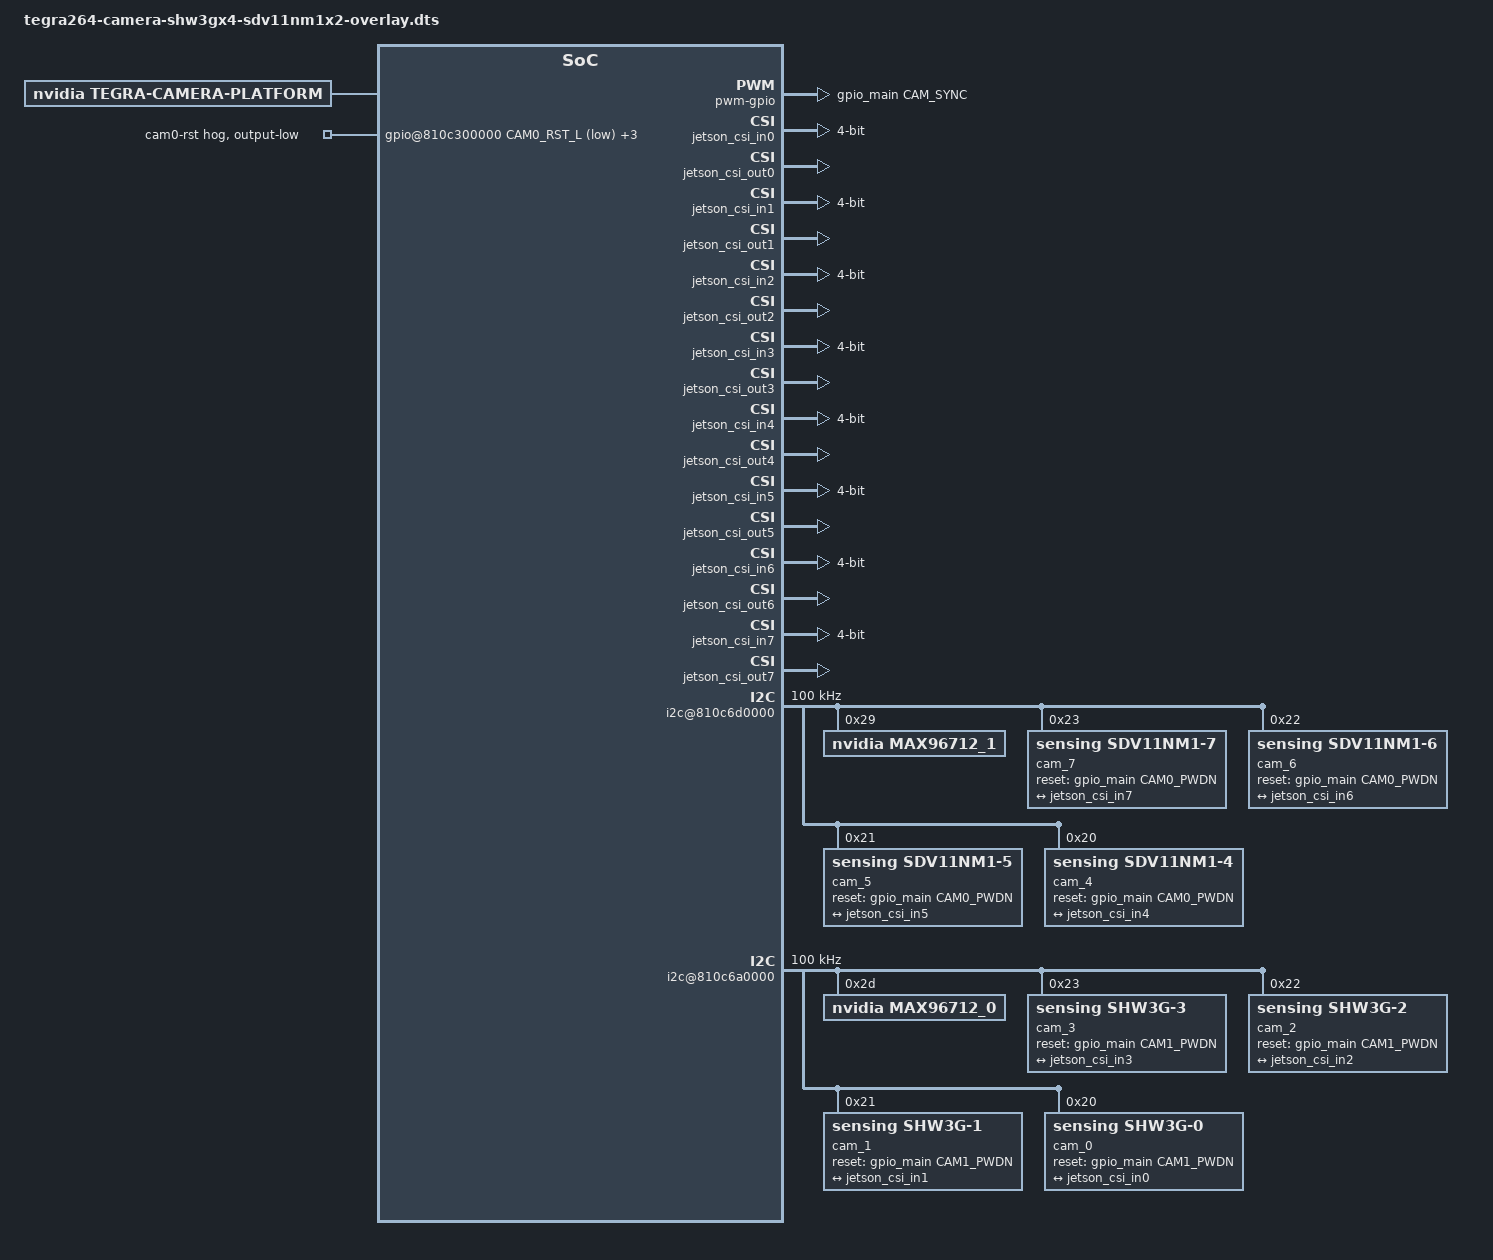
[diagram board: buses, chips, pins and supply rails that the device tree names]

// SPDX-License-Identifier: GPL-2.0-only
// SPDX-FileCopyrightText: Copyright (c) 2018-2023, INTEL CORPORATION.  All rights reserved.

/dts-v1/;
/plugin/;

#include <dt-bindings/clock/tegra264-clock.h>
#include <dt-bindings/gpio/tegra264-gpio.h>
//#include <dt-bindings/tegra234-p3737-0000+p3701-0000.h>

/* camera control gpio definitions */
#define CAM0_RST_L	TEGRA264_MAIN_GPIO(V, 2)
#define CAM0_PWDN	TEGRA264_MAIN_GPIO(AL, 1)
#define CAM1_RST_L	TEGRA264_MAIN_GPIO(Q, 3)
#define CAM1_PWDN	TEGRA264_MAIN_GPIO(Q, 2)
#define CAM_SYNC    TEGRA264_MAIN_GPIO(K, 5)

#define CAMERA_I2C_MUX_BUS(x) (0x1E + x)
#define JETSON_COMPATIBLE	"nvidia,p3971-0089+p3834-0008", "nvidia,p3971-0050+p3834-0005", "nvidia,p3971-0080+p3834-0008", "nvidia,p3834-0008", "nvidia,tegra264"

/ {
	overlay-name = "Jetson Sensing SG8A_AGTH_G2Y_A1 SHW3Gx4+SDV11NM1x2";
	jetson-header-name = "Jetson AGX CSI Connector";
	compatible = JETSON_COMPATIBLE;

	fragment@0 {
		target-path = "/";
		__overlay__ {
			tegra-capture-vi {
				num-channels = <8>;
				ports {
					status = "okay";
					port@0 {
						reg = <0>;
						status = "okay";
						jetson_vi_in0: endpoint {
							status = "okay";
							vc-id = <0>;
							port-index = <2>;
							bus-width = <4>;
							remote-endpoint = <&jetson_csi_out0>;
						};
					};
					port@1 {
						reg = <1>;
						status = "okay";
						jetson_vi_in1: endpoint {
							status = "okay";
							vc-id = <1>;
							port-index = <2>;
							bus-width = <4>;
							remote-endpoint = <&jetson_csi_out1>;
						};
					};
					port@2 {
						reg = <2>;
						status = "okay";
						jetson_vi_in2: endpoint {
							status = "okay";
							vc-id = <2>;
							port-index = <2>;
							bus-width = <4>;
							remote-endpoint = <&jetson_csi_out2>;
						};
					};
					port@3 {
						reg = <3>;
						status = "okay";
						jetson_vi_in3: endpoint {
							status = "okay";
							vc-id = <3>;
							port-index = <2>;
							bus-width = <4>;
							remote-endpoint = <&jetson_csi_out3>;
						};
					};
					port@4 {
						reg = <4>;
						status = "okay";
						jetson_vi_in4: endpoint {
							status = "okay";
							vc-id = <0>;
							port-index = <0>;
							bus-width = <4>;
							remote-endpoint = <&jetson_csi_out4>;
						};
					};
					port@5 {
						reg = <5>;
						status = "okay";
						jetson_vi_in5: endpoint {
							status = "okay";
							vc-id = <1>;
							port-index = <0>;
							bus-width = <4>;
							remote-endpoint = <&jetson_csi_out5>;
						};
					};
					port@6 {
						reg = <6>;
						status = "okay";
						jetson_vi_in6: endpoint {
							status = "okay";
							vc-id = <2>;
							port-index = <0>;
							bus-width = <4>;
							remote-endpoint = <&jetson_csi_out6>;
						};
					};
					port@7 {
						reg = <7>;
						status = "okay";
						jetson_vi_in7: endpoint {
							status = "okay";
							vc-id = <3>;
							port-index = <0>;
							bus-width = <4>;
							remote-endpoint = <&jetson_csi_out7>;
						};
					};
				};
			};
	
			tegra-camera-platform {
				compatible = "nvidia, tegra-camera-platform";

				modules {
					status = "okay";
					module0 {
						status = "okay";
						badge = "cam_bottomleft";
						position = "bottomleft";
						orientation = "1";
						drivernode0 {
							status = "okay";
							pcl_id = "v4l2_sensor";
							sysfs-device-tree = "/sys/firmware/devicetree/base/bus@0/i2c@810c6a0000/cam_0@20";
						};
					};
					module1 {
						status = "okay";
						badge = "cam_centerleft";
						position = "centerleft";
						orientation = "1";
						drivernode0 {
							status = "okay";
							pcl_id = "v4l2_sensor";
							sysfs-device-tree = "/sys/firmware/devicetree/base/bus@0/i2c@810c6a0000/cam_1@21";
						};
					};
					module2 {
						status = "okay";
						badge = "cam_centerright";
						position = "centerright";
						orientation = "1";
						drivernode0 {
							status = "okay";
							pcl_id = "v4l2_sensor";
							sysfs-device-tree = "/sys/firmware/devicetree/base/bus@0/i2c@810c6a0000/cam_2@22";
						};
					};
					module3 {
						status = "okay";
						badge = "cam_topleft";
						position = "topleft";
						orientation = "1";
						drivernode0 {
							status = "okay";
							pcl_id = "v4l2_sensor";
							sysfs-device-tree = "/sys/firmware/devicetree/base/bus@0/i2c@810c6a0000/cam_3@23";
						};
					};
					module4 {
						status = "okay";
						badge = "cam_bottomright";
						position = "bottomright";
						orientation = "1";
						drivernode0 {
							status = "okay";
							pcl_id = "v4l2_sensor";
							sysfs-device-tree = "/sys/firmware/devicetree/base/bus@0/i2c@810c6d0000/cam_4@20";
						};
					};
					module5 {
						status = "okay";
						badge = "cam_topright";
						position = "topright";
						orientation = "1";
						drivernode0 {
							status = "okay";
							pcl_id = "v4l2_sensor";
							sysfs-device-tree = "/sys/firmware/devicetree/base/bus@0/i2c@810c6d0000/cam_5@21";
						};
					};
					module6 {
						status = "okay";
						badge = "cam_bottomcenter";
						position = "bottomcenter";
						orientation = "1";
						drivernode0 {
							status = "okay";
							pcl_id = "v4l2_sensor";
							sysfs-device-tree = "/sys/firmware/devicetree/base/bus@0/i2c@810c6d0000/cam_6@22";
						};
					};
					module7 {
						status = "okay";
						badge = "cam_topcenter";
						position = "topcenter";
						orientation = "1";
						drivernode0 {
							status = "okay";
							pcl_id = "v4l2_sensor";
							sysfs-device-tree = "/sys/firmware/devicetree/base/bus@0/i2c@810c6d0000/cam_7@23";
						};
					};
				};
			};

			bus@0 {

				/* set camera gpio direction to output */
				gpio@810c300000 {
					camera-control-output-low {
						gpio-hog;
						output-low;
						gpios = <CAM0_RST_L 1 CAM0_PWDN 1 CAM1_RST_L 1 CAM1_PWDN 1>;
						label = "cam0-rst", "cam0-pwdn", "cam1-rst", "cam1-pwdn";
					};
				};

				pwm-gpio {
					compatible = "pwm-gpio";
					status = "okay";
					gpios = <&gpio_main CAM_SYNC GPIO_ACTIVE_LOW>;
				};

				host1x@8181200000 {
					nvcsi@8188000000 {
						num-channels = <8>;
						channel@0 {
							reg = <0>;
							status = "okay";
							ports {
								status = "okay";
								port@0 {
									reg = <0>;
									status = "okay";
									jetson_csi_in0: endpoint@0 {
										status = "okay";
										port-index = <2>;
										bus-width = <4>;
										remote-endpoint = <&cam_csi_out0>;
									};
								};
								port@1 {
									reg = <1>;
									status = "okay";
									jetson_csi_out0: endpoint@1 {
										status = "okay";
										remote-endpoint = <&jetson_vi_in0>;
									};
								};
							};
						};
						channel@1 {
							reg = <1>;
							status = "okay";
							ports {
								status = "okay";
								port@0 {
									reg = <0>;
									status = "okay";
									jetson_csi_in1: endpoint@2 {
										status = "okay";
										port-index = <2>;
										bus-width = <4>;
										remote-endpoint = <&cam_csi_out1>;
									};
								};
								port@1 {
									reg = <1>;
									status = "okay";
									jetson_csi_out1: endpoint@3 {
										status = "okay";
										remote-endpoint = <&jetson_vi_in1>;
									};
								};
							};
						};
						channel@2 {
							reg = <2>;
							status = "okay";
							ports {
								status = "okay";
								port@0 {
									reg = <0>;
									status = "okay";
									jetson_csi_in2: endpoint@4 {
										status = "okay";
										port-index = <2>;
										bus-width = <4>;
										remote-endpoint = <&cam_csi_out2>;
									};
								};
								port@1 {
									reg = <1>;
									status = "okay";
									jetson_csi_out2: endpoint@5 {
										status = "okay";
										remote-endpoint = <&jetson_vi_in2>;
									};
								};
							};
						};
						channel@3 {
							reg = <3>;
							status = "okay";
							ports {
								status = "okay";
								port@0 {
									reg = <0>;
									status = "okay";
									jetson_csi_in3: endpoint@6 {
										status = "okay";
										port-index = <2>;
										bus-width = <4>;
										remote-endpoint = <&cam_csi_out3>;
									};
								};
								port@1 {
									reg = <1>;
									status = "okay";
									jetson_csi_out3: endpoint@7 {
										status = "okay";
										remote-endpoint = <&jetson_vi_in3>;
									};
								};
							};
						};
						channel@4 {
							reg = <4>;
							status = "okay";
							ports {
								status = "okay";
								port@0 {
									reg = <0>;
									status = "okay";
									jetson_csi_in4: endpoint@08{
										status = "okay";
										port-index = <0>;
										bus-width = <4>;
										remote-endpoint = <&cam_csi_out4>;
									};
								};
								port@1 {
									reg = <1>;
									status = "okay";
									jetson_csi_out4: endpoint@9 {
										status = "okay";
										remote-endpoint = <&jetson_vi_in4>;
									};
								};
							};
						};
						channel@5 {
							reg = <5>;
							status = "okay";
							ports {
								status = "okay";
								port@0 {
									reg = <0>;
									status = "okay";
									jetson_csi_in5: endpoint@10 {
										status = "okay";
										port-index = <0>;
										bus-width = <4>;
										remote-endpoint = <&cam_csi_out5>;
									};
								};
								port@1 {
									reg = <1>;
									status = "okay";
									jetson_csi_out5: endpoint@11 {
										status = "okay";
										remote-endpoint = <&jetson_vi_in5>;
									};
								};
							};
						};
						channel@6 {
							reg = <6>;
							status = "okay";
							ports {
								status = "okay";
								port@0 {
									reg = <0>;
									status = "okay";
									jetson_csi_in6: endpoint@12 {
										status = "okay";
										port-index = <0>;
										bus-width = <4>;
										remote-endpoint = <&cam_csi_out6>;
									};
								};
								port@1 {
									reg = <1>;
									status = "okay";
									jetson_csi_out6: endpoint@13 {
										status = "okay";
										remote-endpoint = <&jetson_vi_in6>;
									};
								};
							};
						};
						channel@7 {
							reg = <7>;
							status = "okay";
							ports {
								status = "okay";
								port@0 {
									reg = <0>;
									status = "okay";
									jetson_csi_in7: endpoint@14 {
										status = "okay";
										port-index = <0>;
										bus-width = <4>;
										remote-endpoint = <&cam_csi_out7>;
									};
								};
								port@1 {
									reg = <1>;
									status = "okay";
									jetson_csi_out7: endpoint@15 {
										status = "okay";
										remote-endpoint = <&jetson_vi_in7>;
									};
								};
							};
						};
					};
				};

				i2c@810c6d0000 {
					clock-frequency = <100000>;
					status = "okay";

					max96712_1@29 {
						compatible = "nvidia,max96712_1";
						reg = <0x29>;
					};

					cam_7@23 {
						compatible = "sensing,sdv11nm1-7";
						def-addr = <0x20>;
						reg = <0x23>;
						eeprom-def = <0x50>;
						eeprom-addr = <0x33>;
						devnode = "video7";

						/* Physical dimensions of sensor */
						physical_w = "15.0";
						physical_h = "12.5";

						sensor_model ="sdv11nm1";

						/* Defines number of frames to be dropped by driver internally after applying */
						/* sensor crop settings. Some sensors send corrupt frames after applying */
						/* crop co-ordinates */
						post_crop_frame_drop = "0";

						/* Convert Gain to unit of dB (decibel) befor passing to kernel driver */
						use_decibel_gain = "true";

						/* enable CID_SENSOR_MODE_ID for sensor modes selection */
						use_sensor_mode_id = "true";

						clocks = <&bpmp TEGRA264_CLK_EXTPERIPH1>,
						<&bpmp TEGRA264_CLK_EXTPERIPH1>;
						clock-names = "extperiph1", "pllp_grtba";
						mclk = "extperiph1";
						der_id = <1>;//
						reset-gpios = <&gpio_main CAM0_PWDN GPIO_ACTIVE_HIGH>;

						mode0 {/*mode SENSOR_MODE_2592x1944_30FPS*/
							mclk_khz = "24000";
							num_lanes = "4";
							tegra_sinterface = "serial_a";
							vc_id = "3";
							phy_mode = "DPHY";
							discontinuous_clk = "no";
							dpcm_enable = "false";
							cil_settletime = "0";
							lane_polarity = "0";
							dynamic_pixel_bit_depth = "10";
							csi_pixel_bit_depth = "10";
							mode_type = "bayer";
							pixel_phase = "bggr";

							active_w = "2592";
							active_h = "1944";
							readout_orientation = "0";
							line_length = "2800";
							inherent_gain = "1";
							mclk_multiplier = "25";
							pix_clk_hz = "240000000";
							serdes_pix_clk_hz = "600000000";

							gain_factor = "100";
							min_gain_val = "100"; /* dB */
							max_gain_val = "1550"; /* dB */
							step_gain_val = "1"; /* 0.1 */
							default_gain = "100";
							min_hdr_ratio = "1";
							max_hdr_ratio = "1";
							framerate_factor = "1000000";
							min_framerate = "30000000";
							max_framerate = "30000000";
							step_framerate = "1";
							default_framerate = "30000000";
							exposure_factor = "1000000";
							min_exp_time = "100";            /*us, 6 lines  6 * 16.276μs = 97.656 μs */
							max_exp_time = "32844";         /*us, (2048− 30) * 16.276μs = 32844μs */
							step_exp_time = "1";
							default_exp_time = "32844";	/* μs */
							embedded_metadata_height = "0";
						};

						ports {
							#address-cells = <1>;
							#size-cells = <0>;
							port@0 {
								reg = <0>;
								cam_csi_out7: endpoint {
									vc-id = <3>;
									port-index = <0>;
									bus-width = <4>;
									remote-endpoint = <&jetson_csi_in7>;
								};
							};
						};
					};
					cam_6@22 {
						compatible = "sensing,sdv11nm1-6";
						def-addr = <0x6c>;
						reg = <0x22>;
						eeprom-def = <0x50>;
						eeprom-addr = <0x32>;
						devnode = "video6";

						/* Physical dimensions of sensor */
						physical_w = "15.0";
						physical_h = "12.5";

						sensor_model ="sdv11nm1";

						/* Defines number of frames to be dropped by driver internally after applying */
						/* sensor crop settings. Some sensors send corrupt frames after applying */
						/* crop co-ordinates */
						post_crop_frame_drop = "0";

						/* Convert Gain to unit of dB (decibel) befor passing to kernel driver */
						use_decibel_gain = "true";

						/* enable CID_SENSOR_MODE_ID for sensor modes selection */
						use_sensor_mode_id = "true";

						clocks = <&bpmp TEGRA264_CLK_EXTPERIPH1>,
						<&bpmp TEGRA264_CLK_EXTPERIPH1>;
						clock-names = "extperiph1", "pllp_grtba";
						mclk = "extperiph1";
						der_id = <1>;//
						reset-gpios = <&gpio_main CAM0_PWDN GPIO_ACTIVE_HIGH>;

						mode0 {/*mode SENSOR_MODE_2592x1944_30FPS*/
							mclk_khz = "24000";
							num_lanes = "4";
							tegra_sinterface = "serial_a";
							vc_id = "2";
							phy_mode = "DPHY";
							discontinuous_clk = "no";
							dpcm_enable = "false";
							cil_settletime = "0";
							lane_polarity = "0";
							dynamic_pixel_bit_depth = "10";
							csi_pixel_bit_depth = "10";
							mode_type = "bayer";
							pixel_phase = "bggr";

							active_w = "2592";
							active_h = "1944";
							readout_orientation = "0";
							line_length = "2800";
							inherent_gain = "1";
							mclk_multiplier = "25";
							pix_clk_hz = "240000000";
							serdes_pix_clk_hz = "600000000";

							gain_factor = "100";
							min_gain_val = "100"; /* dB */
							max_gain_val = "1550"; /* dB */
							step_gain_val = "1"; /* 0.1 */
							default_gain = "100";
							min_hdr_ratio = "1";
							max_hdr_ratio = "1";
							framerate_factor = "1000000";
							min_framerate = "30000000";
							max_framerate = "30000000";
							step_framerate = "1";
							default_framerate = "30000000";
							exposure_factor = "1000000";
							min_exp_time = "100";            /*us, 6 lines  6 * 16.276μs = 97.656 μs */
							max_exp_time = "32844";         /*us, (2048− 30) * 16.276μs = 32844μs */
							step_exp_time = "1";
							default_exp_time = "32844";	/* μs */
							embedded_metadata_height = "0";
						};

						ports {
							#address-cells = <1>;
							#size-cells = <0>;
							port@0 {
								reg = <0>;
								cam_csi_out6: endpoint {
									vc-id = <2>;
									port-index = <0>;
									bus-width = <4>;
									remote-endpoint = <&jetson_csi_in6>;
								};
							};
						};
					};
					cam_5@21 {
						compatible = "sensing,sdv11nm1-5";
						def-addr = <0x20>;
						reg = <0x21>;
						eeprom-def = <0x50>;
						eeprom-addr = <0x31>;
						devnode = "video5";

						/* Physical dimensions of sensor */
						physical_w = "15.0";
						physical_h = "12.5";

						sensor_model ="sdv11nm1";

						/* Defines number of frames to be dropped by driver internally after applying */
						/* sensor crop settings. Some sensors send corrupt frames after applying */
						/* crop co-ordinates */
						post_crop_frame_drop = "0";

						/* Convert Gain to unit of dB (decibel) befor passing to kernel driver */
						use_decibel_gain = "true";

						/* enable CID_SENSOR_MODE_ID for sensor modes selection */
						use_sensor_mode_id = "true";

						clocks = <&bpmp TEGRA264_CLK_EXTPERIPH1>,
						<&bpmp TEGRA264_CLK_EXTPERIPH1>;
						clock-names = "extperiph1", "pllp_grtba";
						mclk = "extperiph1";
						der_id = <1>;//
						reset-gpios = <&gpio_main CAM0_PWDN GPIO_ACTIVE_HIGH>;

						mode0 {/*mode SENSOR_MODE_2592x1944_30FPS*/
							mclk_khz = "24000";
							num_lanes = "4";
							tegra_sinterface = "serial_a";
							vc_id = "1";
							phy_mode = "DPHY";
							discontinuous_clk = "no";
							dpcm_enable = "false";
							cil_settletime = "0";
							lane_polarity = "0";
							dynamic_pixel_bit_depth = "10";
							csi_pixel_bit_depth = "10";
							mode_type = "bayer";
							pixel_phase = "bggr";

							active_w = "2592";
							active_h = "1944";
							readout_orientation = "0";
							line_length = "2800";
							inherent_gain = "1";
							mclk_multiplier = "25";
							pix_clk_hz = "240000000";
							serdes_pix_clk_hz = "600000000";

							gain_factor = "100";
							min_gain_val = "100"; /* dB */
							max_gain_val = "1550"; /* dB */
							step_gain_val = "1"; /* 0.1 */
							default_gain = "100";
							min_hdr_ratio = "1";
							max_hdr_ratio = "1";
							framerate_factor = "1000000";
							min_framerate = "30000000";
							max_framerate = "30000000";
							step_framerate = "1";
							default_framerate = "30000000";
							exposure_factor = "1000000";
							min_exp_time = "100";            /*us, 6 lines  6 * 16.276μs = 97.656 μs */
							max_exp_time = "32844";         /*us, (2048− 30) * 16.276μs = 32844μs */
							step_exp_time = "1";
							default_exp_time = "32844";	/* μs */
							embedded_metadata_height = "0";
						};

						ports {
							#address-cells = <1>;
							#size-cells = <0>;
							port@0 {
								reg = <0>;
								cam_csi_out5: endpoint {
									vc-id = <1>;
									port-index = <0>;
									bus-width = <4>;
									remote-endpoint = <&jetson_csi_in5>;
								};
							};
						};
					};
					cam_4@20 {
						compatible = "sensing,sdv11nm1-4";
						def-addr = <0x6c>;
						reg = <0x20>;
						eeprom-def = <0x50>;
						eeprom-addr = <0x30>;
						devnode = "video4";

						/* Physical dimensions of sensor */
						physical_w = "15.0";
						physical_h = "12.5";

						sensor_model ="sdv11nm1";

						/* Defines number of frames to be dropped by driver internally after applying */
						/* sensor crop settings. Some sensors send corrupt frames after applying */
						/* crop co-ordinates */
						post_crop_frame_drop = "0";

						/* Convert Gain to unit of dB (decibel) befor passing to kernel driver */
						use_decibel_gain = "true";

						/* enable CID_SENSOR_MODE_ID for sensor modes selection */
						use_sensor_mode_id = "true";

						clocks = <&bpmp TEGRA264_CLK_EXTPERIPH1>,
						<&bpmp TEGRA264_CLK_EXTPERIPH1>;
						clock-names = "extperiph1", "pllp_grtba";
						mclk = "extperiph1";
						der_id = <1>;//
						reset-gpios = <&gpio_main CAM0_PWDN GPIO_ACTIVE_HIGH>;

						mode0 {/*mode SENSOR_MODE_2592x1944_30FPS*/
							mclk_khz = "24000";
							num_lanes = "4";
							tegra_sinterface = "serial_a";
							vc_id = "0";
							phy_mode = "DPHY";
							discontinuous_clk = "no";
							dpcm_enable = "false";
							cil_settletime = "0";
							lane_polarity = "0";
							dynamic_pixel_bit_depth = "10";
							csi_pixel_bit_depth = "10";
							mode_type = "bayer";
							pixel_phase = "bggr";

							active_w = "2592";
							active_h = "1944";
							readout_orientation = "0";
							line_length = "2800";
							inherent_gain = "1";
							mclk_multiplier = "25";
							pix_clk_hz = "240000000";
							serdes_pix_clk_hz = "600000000";

							gain_factor = "100";
							min_gain_val = "100"; /* dB */
							max_gain_val = "1550"; /* dB */
							step_gain_val = "1"; /* 0.1 */
							default_gain = "100";
							min_hdr_ratio = "1";
							max_hdr_ratio = "1";
							framerate_factor = "1000000";
							min_framerate = "30000000";
							max_framerate = "30000000";
							step_framerate = "1";
							default_framerate = "30000000";
							exposure_factor = "1000000";
							min_exp_time = "100";            /*us, 6 lines  6 * 16.276μs = 97.656 μs */
							max_exp_time = "32844";         /*us, (2048− 30) * 16.276μs = 32844μs */
							step_exp_time = "1";
							default_exp_time = "32844";	/* μs */
							embedded_metadata_height = "0";
						};
						
						ports {
							#address-cells = <1>;
							#size-cells = <0>;
							port@0 {
								reg = <0>;
								cam_csi_out4: endpoint {
									vc-id = <0>;
									port-index = <0>;
									bus-width = <4>;
									remote-endpoint = <&jetson_csi_in4>;
								};
							};
						};
					};
				};

				i2c@810c6a0000 {
					clock-frequency = <100000>;
					status = "okay";

					max96712_0@2d {
						compatible = "nvidia,max96712_0";
						reg = <0x2d>;
					};

					cam_3@23 {
						compatible = "sensing,shw3g-3";
						def-addr = <0x36>;
						reg = <0x23>;
						eeprom-def = <0x50>;
						eeprom-addr = <0x33>;
						devnode = "video3";

						/* Physical dimensions of sensor */
						physical_w = "15.0";
						physical_h = "12.5";

						sensor_model ="shw3g";

						/* Defines number of frames to be dropped by driver internally after applying */
						/* sensor crop settings. Some sensors send corrupt frames after applying */
						/* crop co-ordinates */
						post_crop_frame_drop = "0";

						/* Convert Gain to unit of dB (decibel) befor passing to kernel driver */
						use_decibel_gain = "true";

						/* enable CID_SENSOR_MODE_ID for sensor modes selection */
						use_sensor_mode_id = "true";

						clocks = <&bpmp TEGRA264_CLK_EXTPERIPH1>,
						<&bpmp TEGRA264_CLK_EXTPERIPH1>;
						clock-names = "extperiph1", "pllp_grtba";
						mclk = "extperiph1";
						der_id = <0>;//
						reset-gpios = <&gpio_main CAM1_PWDN GPIO_ACTIVE_HIGH>;

						mode0 {/*mode SENSOR_MODE_2064X1552_30FPS*/
							mclk_khz = "24000";
							num_lanes = "4";
							tegra_sinterface = "serial_c";
							vc_id = "3";
							phy_mode = "DPHY";
							discontinuous_clk = "no";
							dpcm_enable = "false";
							cil_settletime = "0";
							lane_polarity = "0";
							dynamic_pixel_bit_depth = "12";
							csi_pixel_bit_depth = "12";
							mode_type = "bayer";
							pixel_phase = "rggb";

							active_w = "2064";
							active_h = "1552";
							readout_orientation = "0";
							line_length = "2800";
							inherent_gain = "1";
							mclk_multiplier = "25";
							pix_clk_hz = "200000000";
							serdes_pix_clk_hz = "600000000";

							gain_factor = "10";
							min_gain_val = "10"; /* 1.00x */
							max_gain_val = "480"; /* 22x */
							step_gain_val = "5";
							default_gain = "10"; /* 1.00x */
							min_hdr_ratio = "1";
							max_hdr_ratio = "1";
							framerate_factor = "1000000";
							min_framerate = "51000000";
							max_framerate = "51000000";
							step_framerate = "1";
							default_framerate = "51000000";
							exposure_factor = "1000000";
							min_exp_time = "12"; /*us, 2 lines*/
							max_exp_time = "19000";
							step_exp_time = "1";
							default_exp_time = "19000";/* us */
							embedded_metadata_height = "0";
						};

						ports {
							#address-cells = <1>;
							#size-cells = <0>;
							port@0 {
								reg = <0>;
								cam_csi_out3: endpoint {
									vc-id = <3>;
									port-index = <2>;
									bus-width = <4>;
									remote-endpoint = <&jetson_csi_in3>;
								};
							};
						};
					};
					cam_2@22 {
						compatible = "sensing,shw3g-2";
						def-addr = <0x36>;
						reg = <0x22>;
						eeprom-def = <0x50>;
						eeprom-addr = <0x32>;
						devnode = "video2";

						/* Physical dimensions of sensor */
						physical_w = "15.0";
						physical_h = "12.5";

						sensor_model ="shw3g";

						/* Defines number of frames to be dropped by driver internally after applying */
						/* sensor crop settings. Some sensors send corrupt frames after applying */
						/* crop co-ordinates */
						post_crop_frame_drop = "0";

						/* Convert Gain to unit of dB (decibel) befor passing to kernel driver */
						use_decibel_gain = "true";

						/* enable CID_SENSOR_MODE_ID for sensor modes selection */
						use_sensor_mode_id = "true";

						clocks = <&bpmp TEGRA264_CLK_EXTPERIPH1>,
						<&bpmp TEGRA264_CLK_EXTPERIPH1>;
						clock-names = "extperiph1", "pllp_grtba";
						mclk = "extperiph1";
						der_id = <0>;//
						reset-gpios = <&gpio_main CAM1_PWDN GPIO_ACTIVE_HIGH>;

						mode0 {/*mode SENSOR_MODE_2064X1552_30FPS*/
							mclk_khz = "24000";
							num_lanes = "4";
							tegra_sinterface = "serial_c";
							vc_id = "2";
							phy_mode = "DPHY";
							discontinuous_clk = "no";
							dpcm_enable = "false";
							cil_settletime = "0";
							lane_polarity = "0";
							dynamic_pixel_bit_depth = "12";
							csi_pixel_bit_depth = "12";
							mode_type = "bayer";
							pixel_phase = "rggb";

							active_w = "2064";
							active_h = "1552";
							readout_orientation = "0";
							line_length = "2800";
							inherent_gain = "1";
							mclk_multiplier = "25";
							pix_clk_hz = "200000000";
							serdes_pix_clk_hz = "600000000";

							gain_factor = "10";
							min_gain_val = "10"; /* 1.00x */
							max_gain_val = "480"; /* 22x */
							step_gain_val = "5";
							default_gain = "10"; /* 1.00x */
							min_hdr_ratio = "1";
							max_hdr_ratio = "1";
							framerate_factor = "1000000";
							min_framerate = "51000000";
							max_framerate = "51000000";
							step_framerate = "1";
							default_framerate = "51000000";
							exposure_factor = "1000000";
							min_exp_time = "12"; /*us, 2 lines*/
							max_exp_time = "19000";
							step_exp_time = "1";
							default_exp_time = "19000";/* us */
							embedded_metadata_height = "0";
						};

						ports {
							#address-cells = <1>;
							#size-cells = <0>;
							port@0 {
								reg = <0>;
								cam_csi_out2: endpoint {
									vc-id = <2>;
									port-index = <2>;
									bus-width = <4>;
									remote-endpoint = <&jetson_csi_in2>;
								};
							};
						};
					};
					cam_1@21 {
						compatible = "sensing,shw3g-1";
						def-addr = <0x36>;
						reg = <0x21>;
						eeprom-def = <0x50>;
						eeprom-addr = <0x31>;
						devnode = "video1";

						/* Physical dimensions of sensor */
						physical_w = "15.0";
						physical_h = "12.5";

						sensor_model ="shw3g";

						/* Defines number of frames to be dropped by driver internally after applying */
						/* sensor crop settings. Some sensors send corrupt frames after applying */
						/* crop co-ordinates */
						post_crop_frame_drop = "0";

						/* Convert Gain to unit of dB (decibel) befor passing to kernel driver */
						use_decibel_gain = "true";

						/* enable CID_SENSOR_MODE_ID for sensor modes selection */
						use_sensor_mode_id = "true";

						clocks = <&bpmp TEGRA264_CLK_EXTPERIPH1>,
						<&bpmp TEGRA264_CLK_EXTPERIPH1>;
						clock-names = "extperiph1", "pllp_grtba";
						mclk = "extperiph1";
						der_id = <0>;//
						reset-gpios = <&gpio_main CAM1_PWDN GPIO_ACTIVE_HIGH>;

						mode0 {/*mode SENSOR_MODE_2064X1552_30FPS*/
							mclk_khz = "24000";
							num_lanes = "4";
							tegra_sinterface = "serial_c";
							vc_id = "1";
							phy_mode = "DPHY";
							discontinuous_clk = "no";
							dpcm_enable = "false";
							cil_settletime = "0";
							lane_polarity = "0";
							dynamic_pixel_bit_depth = "12";
							csi_pixel_bit_depth = "12";
							mode_type = "bayer";
							pixel_phase = "rggb";

							active_w = "2064";
							active_h = "1552";
							readout_orientation = "0";
							line_length = "2800";
							inherent_gain = "1";
							mclk_multiplier = "25";
							pix_clk_hz = "200000000";
							serdes_pix_clk_hz = "600000000";

							gain_factor = "10";
							min_gain_val = "10"; /* 1.00x */
							max_gain_val = "480"; /* 22x */
							step_gain_val = "5";
							default_gain = "10"; /* 1.00x */
							min_hdr_ratio = "1";
							max_hdr_ratio = "1";
							framerate_factor = "1000000";
							min_framerate = "51000000";
							max_framerate = "51000000";
							step_framerate = "1";
							default_framerate = "51000000";
							exposure_factor = "1000000";
							min_exp_time = "12"; /*us, 2 lines*/
							max_exp_time = "19000";
							step_exp_time = "1";
							default_exp_time = "19000";/* us */
							embedded_metadata_height = "0";
						};

						ports {
							#address-cells = <1>;
							#size-cells = <0>;
							port@0 {
								reg = <0>;
								cam_csi_out1: endpoint {
									vc-id = <1>;
									port-index = <2>;
									bus-width = <4>;
									remote-endpoint = <&jetson_csi_in1>;
								};
							};
						};
					};
					cam_0@20 {
						compatible = "sensing,shw3g-0";
						def-addr = <0x36>;
						reg = <0x20>;
						eeprom-def = <0x50>;
						eeprom-addr = <0x30>;
						devnode = "video0";

						/* Physical dimensions of sensor */
						physical_w = "15.0";
						physical_h = "12.5";

						sensor_model ="shw3g";

						/* Defines number of frames to be dropped by driver internally after applying */
						/* sensor crop settings. Some sensors send corrupt frames after applying */
						/* crop co-ordinates */
						post_crop_frame_drop = "0";

						/* Convert Gain to unit of dB (decibel) befor passing to kernel driver */
						use_decibel_gain = "true";

						/* enable CID_SENSOR_MODE_ID for sensor modes selection */
						use_sensor_mode_id = "true";

						clocks = <&bpmp TEGRA264_CLK_EXTPERIPH1>,
						<&bpmp TEGRA264_CLK_EXTPERIPH1>;
						clock-names = "extperiph1", "pllp_grtba";
						mclk = "extperiph1";
						der_id = <0>;//
						reset-gpios = <&gpio_main CAM1_PWDN GPIO_ACTIVE_HIGH>;

						mode0 {/*mode SENSOR_MODE_2064X1552_30FPS*/
							mclk_khz = "24000";
							num_lanes = "4";
							tegra_sinterface = "serial_c";
							vc_id = "0";
							phy_mode = "DPHY";
							discontinuous_clk = "no";
							dpcm_enable = "false";
							cil_settletime = "0";
							lane_polarity = "0";
							dynamic_pixel_bit_depth = "12";
							csi_pixel_bit_depth = "12";
							mode_type = "bayer";
							pixel_phase = "rggb";

							active_w = "2064";
							active_h = "1552";
							readout_orientation = "0";
							line_length = "2800";
							inherent_gain = "1";
							mclk_multiplier = "25";
							pix_clk_hz = "200000000";
							serdes_pix_clk_hz = "600000000";

							gain_factor = "10";
							min_gain_val = "10"; /* 1.00x */
							max_gain_val = "480"; /* 22x */
							step_gain_val = "5";
							default_gain = "10"; /* 1.00x */
							min_hdr_ratio = "1";
							max_hdr_ratio = "1";
							framerate_factor = "1000000";
							min_framerate = "51000000";
							max_framerate = "51000000";
							step_framerate = "1";
							default_framerate = "51000000";
							exposure_factor = "1000000";
							min_exp_time = "12"; /*us, 2 lines*/
							max_exp_time = "19000";
							step_exp_time = "1";
							default_exp_time = "19000";/* us */
							embedded_metadata_height = "0";
						};

						ports {
							#address-cells = <1>;
							#size-cells = <0>;
							port@0 {
								reg = <0>;
								cam_csi_out0: endpoint {
									vc-id = <0>;
									port-index = <2>;
									bus-width = <4>;
									remote-endpoint = <&jetson_csi_in0>;
								};
							};
						};
					};
				};
			};
		};
	};
};
